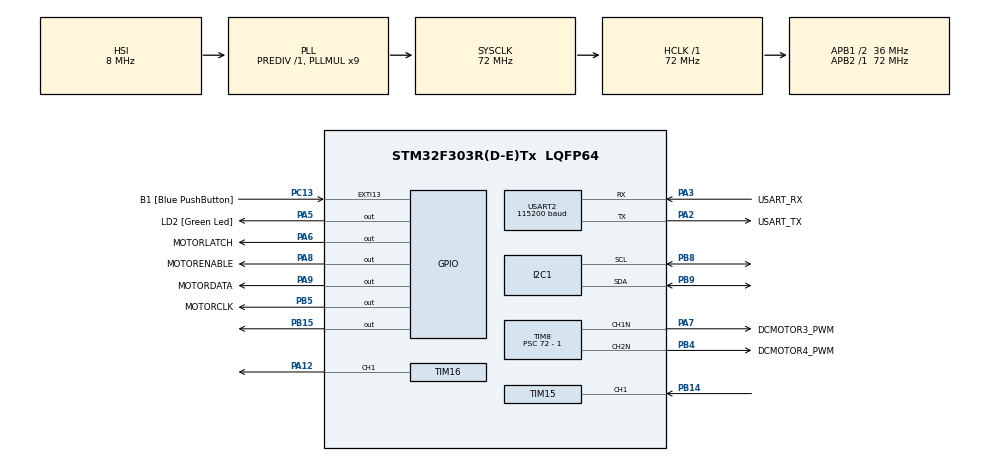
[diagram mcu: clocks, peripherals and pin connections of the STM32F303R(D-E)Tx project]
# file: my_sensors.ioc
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FREERTOS.Tasks01=blinkLed,24,128,StartBlinkLed,Default,NULL,Dynamic,NULL,NULL;i2cBusUsersTask,24,512,Starti2cUsersTask,Default,NULL,Dynamic,NULL,NULL
FREERTOS.configUSE_NEWLIB_REENTRANT=1
Mcu.Family=STM32F3
Mcu.Name=STM32F303R(D-E)Tx
Mcu.Package=LQFP64
NVIC.PriorityGroup=NVIC_PRIORITYGROUP_4
NVIC.TIM1_BRK_TIM15_IRQn=true\:5\:0\:false\:false\:true\:true\:true\:true\:true
NVIC.TIM3_IRQn=true\:15\:0\:false\:false\:true\:false\:false\:true\:true
NVIC.TimeBase=TIM3_IRQn
NVIC.TimeBaseIP=TIM3
PA12.Signal=S_TIM16_CH1
PA13.GPIO_Label=TMS
PA13.Mode=Serial_Wire
PA13.Signal=SYS_JTMS-SWDIO
PA14.GPIO_Label=TCK
PA14.Mode=Serial_Wire
PA14.Signal=SYS_JTCK-SWCLK
PA2.GPIO_Label=USART_TX
PA2.GPIO_Mode=GPIO_MODE_AF_PP
PA2.GPIO_PuPd=GPIO_NOPULL
PA2.GPIO_Speed=GPIO_SPEED_FREQ_LOW
PA2.Mode=Asynchronous
PA2.Signal=USART2_TX
PA3.GPIO_Label=USART_RX
PA3.GPIO_Mode=GPIO_MODE_AF_PP
PA3.GPIO_PuPd=GPIO_NOPULL
PA3.GPIO_Speed=GPIO_SPEED_FREQ_LOW
PA3.Mode=Asynchronous
PA3.Signal=USART2_RX
PA5.GPIO_Label=LD2 [Green Led]
PA5.GPIO_Mode=GPIO_MODE_OUTPUT_PP
PA5.GPIO_PuPd=GPIO_NOPULL
PA5.GPIO_Speed=GPIO_SPEED_FREQ_LOW
PA5.Signal=GPIO_Output
PA6.GPIO_Label=MOTORLATCH
PA6.Signal=GPIO_Output
PA7.GPIO_Label=DCMOTOR3_PWM
PA7.Mode=PWM Generation1 CH1N
PA7.Signal=TIM8_CH1N
PA8.GPIO_Label=MOTORENABLE
PA8.Signal=GPIO_Output
PA9.GPIO_Label=MOTORDATA
PA9.Signal=GPIO_Output
PB14.Signal=S_TIM15_CH1
PB15.Signal=GPIO_Output
PB3.GPIO_Label=SWO
PB3.Signal=SYS_JTDO-TRACESWO
PB4.GPIO_Label=DCMOTOR4_PWM
PB4.Mode=PWM Generation2 CH2N
PB4.Signal=TIM8_CH2N
PB5.GPIO_Label=MOTORCLK
PB5.Signal=GPIO_Output
PB8.Mode=I2C
PB8.Signal=I2C1_SCL
PB9.Mode=I2C
PB9.Signal=I2C1_SDA
PC13.GPIO_Label=B1 [Blue PushButton]
PC13.GPIO_ModeDefaultEXTI=GPIO_MODE_IT_FALLING
PC13.Signal=GPXTI13
PC14-OSC32_IN.Mode=LSE-External-Oscillator
PC14-OSC32_IN.Signal=RCC_OSC32_IN
PC15-OSC32_OUT.Mode=LSE-External-Oscillator
PC15-OSC32_OUT.Signal=RCC_OSC32_OUT
PF0-OSC_IN.Mode=HSE-External-Clock-Source
PF0-OSC_IN.Signal=RCC_OSC_IN
PF1-OSC_OUT.Signal=RCC_OSC_OUT
ProjectManager.HeapSize=0x200
ProjectManager.StackSize=0x400
ProjectManager.TargetToolchain=STM32CubeIDE
RCC.AHBFreq_Value=72000000
RCC.APB1CLKDivider=RCC_HCLK_DIV2
RCC.APB1Freq_Value=36000000
RCC.APB1TimFreq_Value=72000000
RCC.APB2Freq_Value=72000000
RCC.APB2TimFreq_Value=72000000
RCC.CortexFreq_Value=72000000
RCC.HCLKFreq_Value=72000000
RCC.HSE_VALUE=8000000
RCC.HSI_VALUE=8000000
RCC.PLLM=8
RCC.PLLMUL=RCC_PLL_MUL9
RCC.PLLN=336
RCC.PLLP=RCC_PLLP_DIV4
RCC.PLLQ=7
RCC.RCC_PLLsource_Clock_Source_FROM_HSE=RCC_HSE_PREDIV_DIV2
RCC.SYSCLKFreq_VALUE=72000000
RCC.SYSCLKSourceVirtual=RCC_SYSCLKSOURCE_PLLCLK
RCC.USBFreq_Value=72000000
SH.S_TIM15_CH1.0=TIM15_CH1,Input_Capture1_from_TI1
SH.S_TIM16_CH1.0=TIM16_CH1,PWM Generation1 CH1
TIM15.Channel-Input_Capture1_from_TI1=TIM_CHANNEL_1
TIM15.ICPolarity_CH1=TIM_INPUTCHANNELPOLARITY_BOTHEDGE
TIM15.Prescaler=72 - 1
TIM16.Channel=TIM_CHANNEL_1
TIM8.Channel-PWM\ Generation1\ CH1N=TIM_CHANNEL_1
TIM8.Channel-PWM\ Generation2\ CH2N=TIM_CHANNEL_2
TIM8.Period=256 - 1
TIM8.Prescaler=72 - 1
TIM8.Pulse-PWM\ Generation1\ CH1N=64 - 1
USART2.BaudRate=115200
USART2.VirtualMode-Asynchronous=VM_ASYNC
VP_FREERTOS_VS_CMSIS_V2.Mode=CMSIS_V2
VP_SYS_VS_tim3.Mode=TIM3
VP_TIM16_VS_ClockSourceINT.Mode=Enable_Timer
board=NUCLEO-F303RE

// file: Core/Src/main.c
/* USER CODE BEGIN Header */
/**
  ******************************************************************************
  * @file           : main.c
  * @brief          : Main program body
  ******************************************************************************
  * @attention
  *
  * Copyright (c) 2023 STMicroelectronics.
  * All rights reserved.
  *
  * This software is licensed under terms that can be found in the LICENSE file
  * in the root directory of this software component.
  * If no LICENSE file comes with this software, it is provided AS-IS.
  *
  ******************************************************************************
  */
/* USER CODE END Header */
#include "main.h"
#include "cmsis_os.h"

/* USER CODE BEGIN Includes */
#include "bme280.h"
#include "console.h"
#include "display.h"
#include "hcsr04.h"
#include "af_motor_shield.h"
#include <assert.h>
/* USER CODE END Includes */

I2C_HandleTypeDef hi2c1;

TIM_HandleTypeDef htim8;
TIM_HandleTypeDef htim15;
TIM_HandleTypeDef htim16;

UART_HandleTypeDef huart2;

/* Definitions for blinkLed */
osThreadId_t blinkLedHandle;
const osThreadAttr_t blinkLed_attributes = {
        .name = "blinkLed",
        .stack_size = 128 * 4,
        .priority = (osPriority_t) osPriorityNormal,
};
/* Definitions for i2cBusUsersTask */
osThreadId_t i2cBusUsersTaskHandle;
const osThreadAttr_t i2cBusUsersTask_attributes = {
        .name = "i2cBusUsersTask",
        .stack_size = 512 * 4,
        .priority = (osPriority_t) osPriorityNormal,
};

void SystemClock_Config(void);

static void MX_GPIO_Init(void);

static void MX_USART2_UART_Init(void);

static void MX_I2C1_Init(void);

static void MX_TIM15_Init(void);

static void MX_TIM8_Init(void);

static void MX_TIM16_Init(void);

void StartBlinkLed(void *argument);

void Starti2cUsersTask(void *argument);

int main(void) {

    /* MCU Configuration--------------------------------------------------------*/

    /* Reset of all peripherals, Initializes the Flash interface and the Systick. */
    HAL_Init();

    /* USER CODE BEGIN Init */
    HAL_RCC_DeInit();
    /* USER CODE END Init */

    /* Configure the system clock */
    SystemClock_Config();

    /* Initialize all configured peripherals */
    MX_GPIO_Init();
    MX_USART2_UART_Init();
    MX_I2C1_Init();
    MX_TIM15_Init();
    MX_TIM8_Init();
    MX_TIM16_Init();
    /* USER CODE BEGIN 2 */
    HAL_TIM_IC_Start_IT(&htim15, TIM_CHANNEL_1);
    HAL_TIM_PWM_Start(&htim8, TIM_CHANNEL_1);
    HAL_TIM_PWM_Start(&htim8, TIM_CHANNEL_2);

    AFMotorShield *motor3 = AFMotorShield_InitDCMotor(MOTOR_3, 100, (AFMotorShieldPeripheral) {
            .htim = &htim8,
            .channel = TIM_CHANNEL_1
    });
    // Uncomment to run the motor
    AFMotorShield_RunDCMotor(motor3, FORWARD);
    AFMotorShield *motor4 = AFMotorShield_InitDCMotor(MOTOR_4, 100, (AFMotorShieldPeripheral) {
            .htim = &htim8,
            .channel = TIM_CHANNEL_2
    });
    // Uncomment to run the motor
    AFMotorShield_RunDCMotor(motor4, FORWARD);
    AFMotorShield_RunDCMotor(motor3, FORWARD);
    /* USER CODE END 2 */

    /* Init scheduler */
    osKernelInitialize();

    /* Create the thread(s) */
    /* creation of blinkLed */
    blinkLedHandle = osThreadNew(StartBlinkLed, NULL, &blinkLed_attributes);

    /* creation of i2cBusUsersTask */
    i2cBusUsersTaskHandle = osThreadNew(Starti2cUsersTask, NULL, &i2cBusUsersTask_attributes);

    /* Start scheduler */
    osKernelStart();

    /* We should never get here as control is now taken by the scheduler */
    /* Infinite loop */
    while (1) {
    }

}

void SystemClock_Config(void) {
    RCC_OscInitTypeDef RCC_OscInitStruct = {0};
    RCC_ClkInitTypeDef RCC_ClkInitStruct = {0};
    RCC_PeriphCLKInitTypeDef PeriphClkInit = {0};

    /** Initializes the RCC Oscillators according to the specified parameters
    * in the RCC_OscInitTypeDef structure.
    */
    RCC_OscInitStruct.OscillatorType = RCC_OSCILLATORTYPE_HSI;
    RCC_OscInitStruct.HSIState = RCC_HSI_ON;
    RCC_OscInitStruct.HSICalibrationValue = RCC_HSICALIBRATION_DEFAULT;
    RCC_OscInitStruct.PLL.PLLState = RCC_PLL_ON;
    RCC_OscInitStruct.PLL.PLLSource = RCC_PLLSOURCE_HSI;
    RCC_OscInitStruct.PLL.PLLMUL = RCC_PLL_MUL9;
    RCC_OscInitStruct.PLL.PREDIV = RCC_PREDIV_DIV1;
    if (HAL_RCC_OscConfig(&RCC_OscInitStruct) != HAL_OK) {
        Error_Handler();
    }

    /** Initializes the CPU, AHB and APB buses clocks
    */
    RCC_ClkInitStruct.ClockType = RCC_CLOCKTYPE_HCLK | RCC_CLOCKTYPE_SYSCLK
                                  | RCC_CLOCKTYPE_PCLK1 | RCC_CLOCKTYPE_PCLK2;
    RCC_ClkInitStruct.SYSCLKSource = RCC_SYSCLKSOURCE_PLLCLK;
    RCC_ClkInitStruct.AHBCLKDivider = RCC_SYSCLK_DIV1;
    RCC_ClkInitStruct.APB1CLKDivider = RCC_HCLK_DIV2;
    RCC_ClkInitStruct.APB2CLKDivider = RCC_HCLK_DIV1;

    if (HAL_RCC_ClockConfig(&RCC_ClkInitStruct, FLASH_LATENCY_2) != HAL_OK) {
        Error_Handler();
    }
    PeriphClkInit.PeriphClockSelection = RCC_PERIPHCLK_USART2 | RCC_PERIPHCLK_I2C1
                                         | RCC_PERIPHCLK_TIM15 | RCC_PERIPHCLK_TIM16
                                         | RCC_PERIPHCLK_TIM8;
    PeriphClkInit.Usart2ClockSelection = RCC_USART2CLKSOURCE_PCLK1;
    PeriphClkInit.I2c1ClockSelection = RCC_I2C1CLKSOURCE_HSI;
    PeriphClkInit.Tim15ClockSelection = RCC_TIM15CLK_HCLK;
    PeriphClkInit.Tim16ClockSelection = RCC_TIM16CLK_HCLK;
    PeriphClkInit.Tim8ClockSelection = RCC_TIM8CLK_HCLK;
    if (HAL_RCCEx_PeriphCLKConfig(&PeriphClkInit) != HAL_OK) {
        Error_Handler();
    }
}

static void MX_I2C1_Init(void) {

    hi2c1.Instance = I2C1;
    hi2c1.Init.Timing = 0x2000090E;
    hi2c1.Init.OwnAddress1 = 0;
    hi2c1.Init.AddressingMode = I2C_ADDRESSINGMODE_7BIT;
    hi2c1.Init.DualAddressMode = I2C_DUALADDRESS_DISABLE;
    hi2c1.Init.OwnAddress2 = 0;
    hi2c1.Init.OwnAddress2Masks = I2C_OA2_NOMASK;
    hi2c1.Init.GeneralCallMode = I2C_GENERALCALL_DISABLE;
    hi2c1.Init.NoStretchMode = I2C_NOSTRETCH_DISABLE;
    if (HAL_I2C_Init(&hi2c1) != HAL_OK) {
        Error_Handler();
    }

    /** Configure Analogue filter
    */
    if (HAL_I2CEx_ConfigAnalogFilter(&hi2c1, I2C_ANALOGFILTER_ENABLE) != HAL_OK) {
        Error_Handler();
    }

    /** Configure Digital filter
    */
    if (HAL_I2CEx_ConfigDigitalFilter(&hi2c1, 0) != HAL_OK) {
        Error_Handler();
    }

}

static void MX_TIM8_Init(void) {

    TIM_MasterConfigTypeDef sMasterConfig = {0};
    TIM_OC_InitTypeDef sConfigOC = {0};
    TIM_BreakDeadTimeConfigTypeDef sBreakDeadTimeConfig = {0};

    htim8.Instance = TIM8;
    htim8.Init.Prescaler = 72 - 1;
    htim8.Init.CounterMode = TIM_COUNTERMODE_UP;
    htim8.Init.Period = 256 - 1;
    htim8.Init.ClockDivision = TIM_CLOCKDIVISION_DIV1;
    htim8.Init.RepetitionCounter = 0;
    htim8.Init.AutoReloadPreload = TIM_AUTORELOAD_PRELOAD_DISABLE;
    if (HAL_TIM_PWM_Init(&htim8) != HAL_OK) {
        Error_Handler();
    }
    sMasterConfig.MasterOutputTrigger = TIM_TRGO_RESET;
    sMasterConfig.MasterOutputTrigger2 = TIM_TRGO2_RESET;
    sMasterConfig.MasterSlaveMode = TIM_MASTERSLAVEMODE_DISABLE;
    if (HAL_TIMEx_MasterConfigSynchronization(&htim8, &sMasterConfig) != HAL_OK) {
        Error_Handler();
    }
    sConfigOC.OCMode = TIM_OCMODE_PWM1;
    sConfigOC.Pulse = 64 - 1;
    sConfigOC.OCPolarity = TIM_OCPOLARITY_HIGH;
    sConfigOC.OCNPolarity = TIM_OCNPOLARITY_HIGH;
    sConfigOC.OCFastMode = TIM_OCFAST_DISABLE;
    sConfigOC.OCIdleState = TIM_OCIDLESTATE_RESET;
    sConfigOC.OCNIdleState = TIM_OCNIDLESTATE_RESET;
    if (HAL_TIM_PWM_ConfigChannel(&htim8, &sConfigOC, TIM_CHANNEL_1) != HAL_OK) {
        Error_Handler();
    }
    sConfigOC.Pulse = 0;
    if (HAL_TIM_PWM_ConfigChannel(&htim8, &sConfigOC, TIM_CHANNEL_2) != HAL_OK) {
        Error_Handler();
    }
    sBreakDeadTimeConfig.OffStateRunMode = TIM_OSSR_DISABLE;
    sBreakDeadTimeConfig.OffStateIDLEMode = TIM_OSSI_DISABLE;
    sBreakDeadTimeConfig.LockLevel = TIM_LOCKLEVEL_OFF;
    sBreakDeadTimeConfig.DeadTime = 0;
    sBreakDeadTimeConfig.BreakState = TIM_BREAK_DISABLE;
    sBreakDeadTimeConfig.BreakPolarity = TIM_BREAKPOLARITY_HIGH;
    sBreakDeadTimeConfig.BreakFilter = 0;
    sBreakDeadTimeConfig.Break2State = TIM_BREAK2_DISABLE;
    sBreakDeadTimeConfig.Break2Polarity = TIM_BREAK2POLARITY_HIGH;
    sBreakDeadTimeConfig.Break2Filter = 0;
    sBreakDeadTimeConfig.AutomaticOutput = TIM_AUTOMATICOUTPUT_DISABLE;
    if (HAL_TIMEx_ConfigBreakDeadTime(&htim8, &sBreakDeadTimeConfig) != HAL_OK) {
        Error_Handler();
    }
    HAL_TIM_MspPostInit(&htim8);

}

static void MX_TIM15_Init(void) {

    TIM_MasterConfigTypeDef sMasterConfig = {0};
    TIM_IC_InitTypeDef sConfigIC = {0};

    htim15.Instance = TIM15;
    htim15.Init.Prescaler = 72 - 1;
    htim15.Init.CounterMode = TIM_COUNTERMODE_UP;
    htim15.Init.Period = 65535;
    htim15.Init.ClockDivision = TIM_CLOCKDIVISION_DIV1;
    htim15.Init.RepetitionCounter = 0;
    htim15.Init.AutoReloadPreload = TIM_AUTORELOAD_PRELOAD_DISABLE;
    if (HAL_TIM_IC_Init(&htim15) != HAL_OK) {
        Error_Handler();
    }
    sMasterConfig.MasterOutputTrigger = TIM_TRGO_RESET;
    sMasterConfig.MasterSlaveMode = TIM_MASTERSLAVEMODE_DISABLE;
    if (HAL_TIMEx_MasterConfigSynchronization(&htim15, &sMasterConfig) != HAL_OK) {
        Error_Handler();
    }
    sConfigIC.ICPolarity = TIM_INPUTCHANNELPOLARITY_BOTHEDGE;
    sConfigIC.ICSelection = TIM_ICSELECTION_DIRECTTI;
    sConfigIC.ICPrescaler = TIM_ICPSC_DIV1;
    sConfigIC.ICFilter = 0;
    if (HAL_TIM_IC_ConfigChannel(&htim15, &sConfigIC, TIM_CHANNEL_1) != HAL_OK) {
        Error_Handler();
    }

}

static void MX_TIM16_Init(void) {

    TIM_OC_InitTypeDef sConfigOC = {0};
    TIM_BreakDeadTimeConfigTypeDef sBreakDeadTimeConfig = {0};

    htim16.Instance = TIM16;
    htim16.Init.Prescaler = 0;
    htim16.Init.CounterMode = TIM_COUNTERMODE_UP;
    htim16.Init.Period = 65535;
    htim16.Init.ClockDivision = TIM_CLOCKDIVISION_DIV1;
    htim16.Init.RepetitionCounter = 0;
    htim16.Init.AutoReloadPreload = TIM_AUTORELOAD_PRELOAD_DISABLE;
    if (HAL_TIM_Base_Init(&htim16) != HAL_OK) {
        Error_Handler();
    }
    if (HAL_TIM_PWM_Init(&htim16) != HAL_OK) {
        Error_Handler();
    }
    sConfigOC.OCMode = TIM_OCMODE_PWM1;
    sConfigOC.Pulse = 0;
    sConfigOC.OCPolarity = TIM_OCPOLARITY_HIGH;
    sConfigOC.OCNPolarity = TIM_OCNPOLARITY_HIGH;
    sConfigOC.OCFastMode = TIM_OCFAST_DISABLE;
    sConfigOC.OCIdleState = TIM_OCIDLESTATE_RESET;
    sConfigOC.OCNIdleState = TIM_OCNIDLESTATE_RESET;
    if (HAL_TIM_PWM_ConfigChannel(&htim16, &sConfigOC, TIM_CHANNEL_1) != HAL_OK) {
        Error_Handler();
    }
    sBreakDeadTimeConfig.OffStateRunMode = TIM_OSSR_DISABLE;
    sBreakDeadTimeConfig.OffStateIDLEMode = TIM_OSSI_DISABLE;
    sBreakDeadTimeConfig.LockLevel = TIM_LOCKLEVEL_OFF;
    sBreakDeadTimeConfig.DeadTime = 0;
    sBreakDeadTimeConfig.BreakState = TIM_BREAK_DISABLE;
    sBreakDeadTimeConfig.BreakPolarity = TIM_BREAKPOLARITY_HIGH;
    sBreakDeadTimeConfig.BreakFilter = 0;
    sBreakDeadTimeConfig.AutomaticOutput = TIM_AUTOMATICOUTPUT_DISABLE;
    if (HAL_TIMEx_ConfigBreakDeadTime(&htim16, &sBreakDeadTimeConfig) != HAL_OK) {
        Error_Handler();
    }
    HAL_TIM_MspPostInit(&htim16);

}

static void MX_USART2_UART_Init(void) {

    huart2.Instance = USART2;
    huart2.Init.BaudRate = 115200;
    huart2.Init.WordLength = UART_WORDLENGTH_8B;
    huart2.Init.StopBits = UART_STOPBITS_1;
    huart2.Init.Parity = UART_PARITY_NONE;
    huart2.Init.Mode = UART_MODE_TX_RX;
    huart2.Init.HwFlowCtl = UART_HWCONTROL_NONE;
    huart2.Init.OverSampling = UART_OVERSAMPLING_16;
    huart2.Init.OneBitSampling = UART_ONE_BIT_SAMPLE_DISABLE;
    huart2.AdvancedInit.AdvFeatureInit = UART_ADVFEATURE_NO_INIT;
    if (HAL_UART_Init(&huart2) != HAL_OK) {
        Error_Handler();
    }

}

static void MX_GPIO_Init(void) {
    GPIO_InitTypeDef GPIO_InitStruct = {0};

    /* GPIO Ports Clock Enable */
    __HAL_RCC_GPIOC_CLK_ENABLE();
    __HAL_RCC_GPIOF_CLK_ENABLE();
    __HAL_RCC_GPIOA_CLK_ENABLE();
    __HAL_RCC_GPIOB_CLK_ENABLE();

    /*Configure GPIO pin Output Level */
    HAL_GPIO_WritePin(GPIOA, LD2_Pin | MOTORLATCH_Pin | MOTORENABLE_Pin | MOTORDATA_Pin, GPIO_PIN_RESET);

    /*Configure GPIO pin Output Level */
    HAL_GPIO_WritePin(GPIOB, GPIO_PIN_15 | MOTORCLK_Pin, GPIO_PIN_RESET);

    /*Configure GPIO pin : B1_Pin */
    GPIO_InitStruct.Pin = B1_Pin;
    GPIO_InitStruct.Mode = GPIO_MODE_IT_FALLING;
    GPIO_InitStruct.Pull = GPIO_NOPULL;
    HAL_GPIO_Init(B1_GPIO_Port, &GPIO_InitStruct);

    /*Configure GPIO pins : LD2_Pin MOTORLATCH_Pin MOTORENABLE_Pin MOTORDATA_Pin */
    GPIO_InitStruct.Pin = LD2_Pin | MOTORLATCH_Pin | MOTORENABLE_Pin | MOTORDATA_Pin;
    GPIO_InitStruct.Mode = GPIO_MODE_OUTPUT_PP;
    GPIO_InitStruct.Pull = GPIO_NOPULL;
    GPIO_InitStruct.Speed = GPIO_SPEED_FREQ_LOW;
    HAL_GPIO_Init(GPIOA, &GPIO_InitStruct);

    /*Configure GPIO pins : PB15 MOTORCLK_Pin */
    GPIO_InitStruct.Pin = GPIO_PIN_15 | MOTORCLK_Pin;
    GPIO_InitStruct.Mode = GPIO_MODE_OUTPUT_PP;
    GPIO_InitStruct.Pull = GPIO_NOPULL;
    GPIO_InitStruct.Speed = GPIO_SPEED_FREQ_LOW;
    HAL_GPIO_Init(GPIOB, &GPIO_InitStruct);

}

/* USER CODE BEGIN Header_StartBlinkLed */
/**
  * @brief  Function implementing the blinkLed thread.
  * @param  argument: Not used
  * @retval None
  */
_Noreturn
/* USER CODE END Header_StartBlinkLed */
void StartBlinkLed(void *argument) {
    /* USER CODE BEGIN 5 */
    /* Infinite loop */
    while (1) {
        HAL_GPIO_TogglePin(LD2_GPIO_Port, LD2_Pin);
        osDelay(500);
    }
    assert(false);
    /* USER CODE END 5 */
}

/* USER CODE BEGIN Header_Starti2cUsersTask */
static float to_cm(float meters) {
    return meters * 100.0f;
}

/**
* @brief Function implementing the i2cBusUsersTask thread.
* @param argument: Not used
* @retval None
*/
_Noreturn
/* USER CODE END Header_Starti2cUsersTask */
void Starti2cUsersTask(void *argument) {
    /* USER CODE BEGIN Starti2cUsersTask */
    Console_Init(&huart2);
    BME280_Init(OSRS_16, OSRS_16, OSRS_16, MODE_NORMAL, T_SB_0p5, IIR_16);
    if (BME280_IsInitialized()) {
        BME280_Measure();
    }
    Display_Init(&hi2c1);
    HCSR04_Init(GPIOB, GPIO_PIN_15, GPIO_PIN_14, &htim15, BME280_GetHumidity, BME280_GetTemperature);

    float distance_m = HCSR04_MeasureDistanceInMeters();
    static HCSR04_Execution_State_t state = HCSR04_BEGIN;
    while (true) {
        state = HCSR04_MeasureDistanceInMetersNonBlocking(&distance_m, state);
        if (state == HCSR04_DONE) {
            if (BME280_IsInitialized()) {
                BME280_Measure();
            }
            if (Display_IsInitialized()) {
                Display_Print("Temp:%.2f Dist:%.2fcm", BME280_GetTemperature(),
                              HCSR04_IsValidDistance(distance_m) ? to_cm(distance_m) : 0.0f);
            }
        }
    }
    /* USER CODE END Starti2cUsersTask */
}

void HAL_TIM_PeriodElapsedCallback(TIM_HandleTypeDef *htim) {
    if (htim->Instance == TIM3) {
        HAL_IncTick();
    }
}

void Error_Handler(void) {
    __disable_irq();
    while (1) {
    }
}
